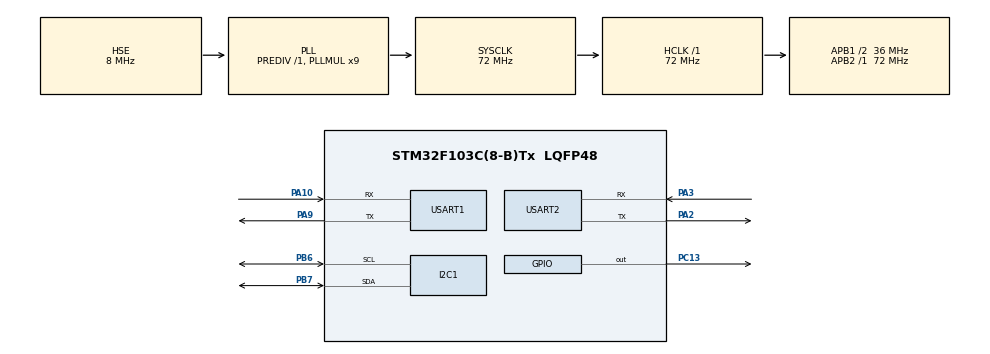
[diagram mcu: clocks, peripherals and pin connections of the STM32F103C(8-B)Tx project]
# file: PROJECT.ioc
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Mcu.Family=STM32F1
Mcu.Name=STM32F103C(8-B)Tx
Mcu.Package=LQFP48
NVIC.PriorityGroup=NVIC_PRIORITYGROUP_4
PA10.Mode=Asynchronous
PA10.Signal=USART1_RX
PA13.Mode=Serial_Wire
PA13.Signal=SYS_JTMS-SWDIO
PA14.Mode=Serial_Wire
PA14.Signal=SYS_JTCK-SWCLK
PA2.Mode=Asynchronous
PA2.Signal=USART2_TX
PA3.Mode=Asynchronous
PA3.Signal=USART2_RX
PA9.Mode=Asynchronous
PA9.Signal=USART1_TX
PB6.Mode=I2C
PB6.Signal=I2C1_SCL
PB7.Mode=I2C
PB7.Signal=I2C1_SDA
PC13-TAMPER-RTC.Signal=GPIO_Output
PD0-OSC_IN.Mode=HSE-External-Oscillator
PD0-OSC_IN.Signal=RCC_OSC_IN
PD1-OSC_OUT.Mode=HSE-External-Oscillator
PD1-OSC_OUT.Signal=RCC_OSC_OUT
ProjectManager.HeapSize=0x200
ProjectManager.StackSize=0x400
ProjectManager.TargetToolchain=MDK-ARM V5.32
RCC.AHBFreq_Value=72000000
RCC.APB1CLKDivider=RCC_HCLK_DIV2
RCC.APB1Freq_Value=36000000
RCC.APB1TimFreq_Value=72000000
RCC.APB2Freq_Value=72000000
RCC.APB2TimFreq_Value=72000000
RCC.HCLKFreq_Value=72000000
RCC.PLLMUL=RCC_PLL_MUL9
RCC.PLLSourceVirtual=RCC_PLLSOURCE_HSE
RCC.SYSCLKFreq_VALUE=72000000
RCC.SYSCLKSource=RCC_SYSCLKSOURCE_PLLCLK
RCC.USBFreq_Value=72000000
USART1.VirtualMode=VM_ASYNC
USART2.VirtualMode=VM_ASYNC
board=custom

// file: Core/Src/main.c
/* USER CODE BEGIN Header */
/**
  ******************************************************************************
  * @file           : main.c
  * @brief          : BME280 -> STM32 -> Wemos (AT) -> MQTT weather station
  ******************************************************************************
  */
/* USER CODE END Header */
#include "main.h"

/* USER CODE BEGIN Includes */
#include <stdio.h>
#include <stdarg.h>
#include <string.h>
#include "bme280.h"
/* USER CODE END Includes */

/* USER CODE BEGIN PD */
#define WIFI_SSID        "SNUC"
#define WIFI_PASS        "snu12345"
#define MQTT_HOST        "broker.emqx.io"
#define MQTT_PORT        1883
#define MQTT_TOPIC       "snuc/fpiot/yellow/bme280"
#define MQTT_CLIENT_ID   "bluepill-weather"
#define PUBLISH_PERIOD_MS 8000
#define RX_BUF_SIZE      512
#define STATUS_PORT      GPIOC
#define STATUS_PIN       GPIO_PIN_13      /* on-board LED, active low */
/* USER CODE END PD */

I2C_HandleTypeDef hi2c1;

UART_HandleTypeDef huart1;
UART_HandleTypeDef huart2;

/* USER CODE BEGIN PV */
struct bme280_dev dev;
struct bme280_data comp;
struct bme280_settings settings;
/* USER CODE END PV */

void SystemClock_Config(void);
static void MX_GPIO_Init(void);
static void MX_I2C1_Init(void);
static void MX_USART1_UART_Init(void);
static void MX_USART2_UART_Init(void);

/* USER CODE BEGIN 0 */

static char rx_buf[RX_BUF_SIZE];
static uint16_t rx_len = 0;
static uint8_t wifi_ready = 0;
static uint8_t mqtt_ready = 0;
static uint8_t mqtt_fails = 0;

/* ---------- Debug output on USART1 (PA9), read by the Arduino bridge ---------- */
static void dbg(const char *fmt, ...)
{
  char buf[384];
  va_list ap;
  va_start(ap, fmt);
  int n = vsnprintf(buf, sizeof(buf), fmt, ap);
  va_end(ap);
  if (n > 0)
  {
    if (n > (int)sizeof(buf) - 1) n = sizeof(buf) - 1;
    HAL_UART_Transmit(&huart1, (uint8_t *)buf, (uint16_t)n, 200);
  }
  HAL_UART_Transmit(&huart1, (uint8_t *)"\r\n", 2, 100);
}

/* ---------- Wemos (ESP8266 AT firmware) on USART2 (PA2 TX, PA3 RX) ---------- */
static void esp_send_raw(const uint8_t *d, uint16_t len)
{
  HAL_UART_Transmit(&huart2, (uint8_t *)d, len, 1000);
}

static void esp_send_line(const char *s)
{
  esp_send_raw((const uint8_t *)s, (uint16_t)strlen(s));
  esp_send_raw((const uint8_t *)"\r\n", 2);
}

static void rx_clear(void)
{
  rx_len = 0;
  rx_buf[0] = 0;
}

static void rx_append(uint8_t c)
{
  if (rx_len < RX_BUF_SIZE - 1)
  {
    rx_buf[rx_len++] = (char)c;
    rx_buf[rx_len] = 0;
  }
}

/* Reads one byte. Clears overrun errors so reception keeps going. */
static int rx_getbyte(uint8_t *c)
{
  if (HAL_UART_Receive(&huart2, c, 1, 2) == HAL_OK) return 1;
  __HAL_UART_CLEAR_OREFLAG(&huart2);
  return 0;
}

/* Waits until tok1 or tok2 appears. Returns 1 (tok1), 2 (tok2) or 0 (timeout). */
static int esp_wait(const char *tok1, const char *tok2, uint32_t timeout_ms)
{
  uint32_t start = HAL_GetTick();
  uint8_t c;
  while ((HAL_GetTick() - start) < timeout_ms)
  {
    if (rx_getbyte(&c))
    {
      rx_append(c);
      if (strstr(rx_buf, tok1)) return 1;
      if (tok2 && strstr(rx_buf, tok2)) return 2;
    }
  }
  return 0;
}

/* Collects everything the ESP sends for timeout_ms (binary safe). */
static void esp_collect(uint32_t timeout_ms)
{
  uint32_t start = HAL_GetTick();
  uint8_t c;
  while ((HAL_GetTick() - start) < timeout_ms)
  {
    if (rx_getbyte(&c)) rx_append(c);
  }
}

/* Sends an AT command and returns 1 if it ends with OK. */
static int esp_cmd(const char *cmd, uint32_t timeout_ms)
{
  rx_clear();
  esp_send_line(cmd);
  int r = esp_wait("OK", "ERROR", timeout_ms);
  dbg("> %s", cmd);
  dbg("< %s", rx_buf);
  return r == 1;
}

/* Sends raw bytes with AT+CIPSEND and waits for SEND OK. */
static int esp_send_bytes(const uint8_t *data, uint16_t len)
{
  char cmd[32];
  snprintf(cmd, sizeof(cmd), "AT+CIPSEND=%u", (unsigned)len);
  rx_clear();
  esp_send_line(cmd);
  if (esp_wait(">", "ERROR", 3000) != 1)
  {
    dbg("CIPSEND prompt missing");
    return 0;
  }
  esp_send_raw(data, len);
  if (esp_wait("SEND OK", "ERROR", 3000) != 1)
  {
    dbg("SEND OK not received");
    return 0;
  }
  return 1;
}

/* ---------- Wi-Fi ---------- */
static int wifi_join(void)
{
  char cmd[128];
  int ok = 0;

  for (int i = 0; i < 3 && !ok; i++) ok = esp_cmd("AT", 1000);
  if (!ok)
  {
    dbg("No reply from Wemos: check TX/RX wires, 5V and AT firmware");
    return 0;
  }
  esp_cmd("ATE0", 1000);                 /* turn off echo */
  esp_cmd("AT+CWMODE=1", 2000);          /* station mode */

  snprintf(cmd, sizeof(cmd), "AT+CWJAP=\"%s\",\"%s\"", WIFI_SSID, WIFI_PASS);
  if (!esp_cmd(cmd, 20000))
  {
    dbg("Wi-Fi join FAILED");
    return 0;
  }
  esp_cmd("AT+CIPMUX=0", 2000);          /* single connection */
  dbg("Wi-Fi OK");
  return 1;
}

/* ---------- MQTT packet building (MQTT 3.1.1, QoS 0) ---------- */
static uint16_t mqtt_encode_len(uint8_t *p, uint32_t len)
{
  uint16_t n = 0;
  do
  {
    uint8_t d = len % 128;
    len /= 128;
    if (len > 0) d |= 0x80;
    p[n++] = d;
  } while (len > 0);
  return n;
}

static uint16_t mqtt_build_connect(uint8_t *out)
{
  uint8_t body[64];
  uint16_t b = 0;
  uint16_t cl = (uint16_t)strlen(MQTT_CLIENT_ID);

  body[b++] = 0x00; body[b++] = 4;             /* protocol name length */
  memcpy(&body[b], "MQTT", 4); b += 4;
  body[b++] = 4;                               /* protocol level 3.1.1 */
  body[b++] = 0x02;                            /* clean session */
  body[b++] = 0x00; body[b++] = 60;            /* keep alive 60 s */
  body[b++] = (uint8_t)(cl >> 8); body[b++] = (uint8_t)(cl & 0xFF);
  memcpy(&body[b], MQTT_CLIENT_ID, cl); b += cl;

  out[0] = 0x10;                               /* CONNECT */
  uint16_t h = mqtt_encode_len(&out[1], b);
  memcpy(&out[1 + h], body, b);
  return (uint16_t)(1 + h + b);
}

static uint16_t mqtt_build_publish(uint8_t *out, const char *topic, const char *payload)
{
  uint8_t body[256];
  uint16_t b = 0;
  uint16_t tl = (uint16_t)strlen(topic);
  uint16_t pl = (uint16_t)strlen(payload);

  body[b++] = (uint8_t)(tl >> 8); body[b++] = (uint8_t)(tl & 0xFF);
  memcpy(&body[b], topic, tl); b += tl;
  memcpy(&body[b], payload, pl); b += pl;

  out[0] = 0x30;                               /* PUBLISH, QoS 0 */
  uint16_t h = mqtt_encode_len(&out[1], b);
  memcpy(&out[1 + h], body, b);
  return (uint16_t)(1 + h + b);
}

static int bytes_contain(const uint8_t *buf, uint16_t len, const uint8_t *pat, uint16_t plen)
{
  for (uint16_t i = 0; i + plen <= len; i++)
  {
    if (memcmp(&buf[i], pat, plen) == 0) return 1;
  }
  return 0;
}

/* ---------- MQTT connect and publish ---------- */
static int mqtt_connect(void)
{
  char cmd[128];
  uint8_t pkt[64];
  const uint8_t connack[4] = {0x20, 0x02, 0x00, 0x00};

  esp_cmd("AT+CIPCLOSE", 1000);          /* close any old socket, error is OK */

  snprintf(cmd, sizeof(cmd), "AT+CIPSTART=\"TCP\",\"%s\",%d", MQTT_HOST, MQTT_PORT);
  if (!esp_cmd(cmd, 10000))
  {
    dbg("MQTT connect FAILED: TCP");
    return 0;
  }

  uint16_t n = mqtt_build_connect(pkt);
  if (!esp_send_bytes(pkt, n))
  {
    dbg("MQTT connect FAILED: CONNECT not sent");
    return 0;
  }

  esp_collect(1500);                     /* wait for CONNACK */
  if (!bytes_contain((uint8_t *)rx_buf, rx_len, connack, 4))
  {
    dbg("MQTT connect FAILED: no CONNACK");
    return 0;
  }
  dbg("MQTT connected to %s", MQTT_HOST);
  return 1;
}

static int mqtt_publish(const char *payload)
{
  uint8_t pkt[300];
  uint16_t n = mqtt_build_publish(pkt, MQTT_TOPIC, payload);
  if (!esp_send_bytes(pkt, n))
  {
    dbg("publish FAILED");
    return 0;
  }
  dbg(">> published: %s", payload);
  return 1;
}

/* ---------- BME280 (Bosch driver, I2C on PB6/PB7) ---------- */
static BME280_INTF_RET_TYPE bme_read(uint8_t reg, uint8_t *data, uint32_t len, void *intf)
{
  (void)intf;
  return (HAL_I2C_Mem_Read(&hi2c1, (0x76 << 1), reg, I2C_MEMADD_SIZE_8BIT,
                           data, len, 100) == HAL_OK) ? BME280_INTF_RET_SUCCESS : BME280_E_COMM_FAIL;
}

static BME280_INTF_RET_TYPE bme_write(uint8_t reg, const uint8_t *data, uint32_t len, void *intf)
{
  (void)intf;
  return (HAL_I2C_Mem_Write(&hi2c1, (0x76 << 1), reg, I2C_MEMADD_SIZE_8BIT,
                            (uint8_t *)data, len, 100) == HAL_OK) ? BME280_INTF_RET_SUCCESS : BME280_E_COMM_FAIL;
}

static void bme_delay(uint32_t period_us, void *intf)
{
  (void)intf;
  HAL_Delay(period_us / 1000 + 1);
}

static int8_t bme_init_sensor(void)
{
  int8_t rslt;

  dev.intf = BME280_I2C_INTF;
  dev.read = bme_read;
  dev.write = bme_write;
  dev.delay_us = bme_delay;
  dev.intf_ptr = NULL;

  rslt = bme280_init(&dev);
  if (rslt != BME280_OK) return rslt;

  settings.osr_h  = BME280_OVERSAMPLING_1X;
  settings.osr_p  = BME280_OVERSAMPLING_1X;
  settings.osr_t  = BME280_OVERSAMPLING_1X;
  settings.filter = BME280_FILTER_COEFF_OFF;
  rslt = bme280_set_sensor_settings(BME280_SEL_ALL_SETTINGS, &settings, &dev);
  if (rslt != BME280_OK) return rslt;

  return bme280_set_sensor_mode(BME280_POWERMODE_NORMAL, &dev);
}

/* USER CODE END 0 */

int main(void)
{

  /* MCU Configuration--------------------------------------------------------*/

  /* Reset of all peripherals, Initializes the Flash interface and the Systick. */
  HAL_Init();

  /* Configure the system clock */
  SystemClock_Config();

  /* Initialize all configured peripherals */
  MX_GPIO_Init();
  MX_I2C1_Init();
  MX_USART1_UART_Init();
  MX_USART2_UART_Init();
  /* USER CODE BEGIN 2 */
  HAL_Delay(500);
  dbg("--- Weather station start ---");

  if (bme_init_sensor() != BME280_OK)
  {
    dbg("BME280 init FAILED");
    while (1)                              /* fast LED blink = sensor error */
    {
      HAL_GPIO_TogglePin(STATUS_PORT, STATUS_PIN);
      HAL_Delay(100);
    }
  }
  dbg("BME280 OK");

  wifi_ready = wifi_join();
  /* USER CODE END 2 */

  /* Infinite loop */
  while (1)
  {

    /* USER CODE BEGIN 3 */
    if (!mqtt_ready)
    {
      if (!wifi_ready) wifi_ready = wifi_join();
      if (wifi_ready) mqtt_ready = mqtt_connect();

      if (!mqtt_ready)
      {
        mqtt_fails++;
        if (mqtt_fails >= 3)
        {
          wifi_ready = 0;                  /* force a fresh Wi-Fi join */
          mqtt_fails = 0;
        }
        HAL_Delay(3000);
        continue;
      }
      mqtt_fails = 0;
    }

    if (bme280_get_sensor_data(BME280_ALL, &comp, &dev) == BME280_OK)
    {
      char json[96];
      snprintf(json, sizeof(json), "{\"t\":%.2f,\"h\":%.2f,\"p\":%.2f}",
               comp.temperature, comp.humidity, comp.pressure / 100.0f);
      dbg("Reading: %s", json);

      if (!mqtt_publish(json))
      {
        mqtt_ready = 0;                    /* reconnect on the next loop */
      }
    }
    else
    {
      dbg("Sensor read FAILED");
    }

    HAL_GPIO_TogglePin(STATUS_PORT, STATUS_PIN);
    HAL_Delay(PUBLISH_PERIOD_MS);
  }
  /* USER CODE END 3 */
}

void SystemClock_Config(void)
{
  RCC_OscInitTypeDef RCC_OscInitStruct = {0};
  RCC_ClkInitTypeDef RCC_ClkInitStruct = {0};

  /** Initializes the RCC Oscillators according to the specified parameters
  * in the RCC_OscInitTypeDef structure.
  */
  RCC_OscInitStruct.OscillatorType = RCC_OSCILLATORTYPE_HSE;
  RCC_OscInitStruct.HSEState = RCC_HSE_ON;
  RCC_OscInitStruct.HSEPredivValue = RCC_HSE_PREDIV_DIV1;
  RCC_OscInitStruct.HSIState = RCC_HSI_ON;
  RCC_OscInitStruct.PLL.PLLState = RCC_PLL_ON;
  RCC_OscInitStruct.PLL.PLLSource = RCC_PLLSOURCE_HSE;
  RCC_OscInitStruct.PLL.PLLMUL = RCC_PLL_MUL9;
  if (HAL_RCC_OscConfig(&RCC_OscInitStruct) != HAL_OK)
  {
    Error_Handler();
  }

  /** Initializes the CPU, AHB and APB buses clocks
  */
  RCC_ClkInitStruct.ClockType = RCC_CLOCKTYPE_HCLK|RCC_CLOCKTYPE_SYSCLK
                              |RCC_CLOCKTYPE_PCLK1|RCC_CLOCKTYPE_PCLK2;
  RCC_ClkInitStruct.SYSCLKSource = RCC_SYSCLKSOURCE_PLLCLK;
  RCC_ClkInitStruct.AHBCLKDivider = RCC_SYSCLK_DIV1;
  RCC_ClkInitStruct.APB1CLKDivider = RCC_HCLK_DIV2;
  RCC_ClkInitStruct.APB2CLKDivider = RCC_HCLK_DIV1;

  if (HAL_RCC_ClockConfig(&RCC_ClkInitStruct, FLASH_LATENCY_2) != HAL_OK)
  {
    Error_Handler();
  }
}

static void MX_I2C1_Init(void)
{

  hi2c1.Instance = I2C1;
  hi2c1.Init.ClockSpeed = 100000;
  hi2c1.Init.DutyCycle = I2C_DUTYCYCLE_2;
  hi2c1.Init.OwnAddress1 = 0;
  hi2c1.Init.AddressingMode = I2C_ADDRESSINGMODE_7BIT;
  hi2c1.Init.DualAddressMode = I2C_DUALADDRESS_DISABLE;
  hi2c1.Init.OwnAddress2 = 0;
  hi2c1.Init.GeneralCallMode = I2C_GENERALCALL_DISABLE;
  hi2c1.Init.NoStretchMode = I2C_NOSTRETCH_DISABLE;
  if (HAL_I2C_Init(&hi2c1) != HAL_OK)
  {
    Error_Handler();
  }

}

static void MX_USART1_UART_Init(void)
{

  huart1.Instance = USART1;
  huart1.Init.BaudRate = 9600;
  huart1.Init.WordLength = UART_WORDLENGTH_8B;
  huart1.Init.StopBits = UART_STOPBITS_1;
  huart1.Init.Parity = UART_PARITY_NONE;
  huart1.Init.Mode = UART_MODE_TX_RX;
  huart1.Init.HwFlowCtl = UART_HWCONTROL_NONE;
  huart1.Init.OverSampling = UART_OVERSAMPLING_16;
  if (HAL_UART_Init(&huart1) != HAL_OK)
  {
    Error_Handler();
  }

}

static void MX_USART2_UART_Init(void)
{

  huart2.Instance = USART2;
  huart2.Init.BaudRate = 115200;
  huart2.Init.WordLength = UART_WORDLENGTH_8B;
  huart2.Init.StopBits = UART_STOPBITS_1;
  huart2.Init.Parity = UART_PARITY_NONE;
  huart2.Init.Mode = UART_MODE_TX_RX;
  huart2.Init.HwFlowCtl = UART_HWCONTROL_NONE;
  huart2.Init.OverSampling = UART_OVERSAMPLING_16;
  if (HAL_UART_Init(&huart2) != HAL_OK)
  {
    Error_Handler();
  }

}

static void MX_GPIO_Init(void)
{

  /* GPIO Ports Clock Enable */
  __HAL_RCC_GPIOD_CLK_ENABLE();
  __HAL_RCC_GPIOA_CLK_ENABLE();
  __HAL_RCC_GPIOB_CLK_ENABLE();

  /* USER CODE BEGIN MX_GPIO_Init_2 */
  {
    GPIO_InitTypeDef gi = {0};
    __HAL_RCC_GPIOC_CLK_ENABLE();
    HAL_GPIO_WritePin(STATUS_PORT, STATUS_PIN, GPIO_PIN_SET);   /* LED off */
    gi.Pin   = STATUS_PIN;
    gi.Mode  = GPIO_MODE_OUTPUT_PP;
    gi.Pull  = GPIO_NOPULL;
    gi.Speed = GPIO_SPEED_FREQ_LOW;
    HAL_GPIO_Init(STATUS_PORT, &gi);
  }
  /* USER CODE END MX_GPIO_Init_2 */
}

void Error_Handler(void)
{
  __disable_irq();
  while (1)
  {
  }
}
